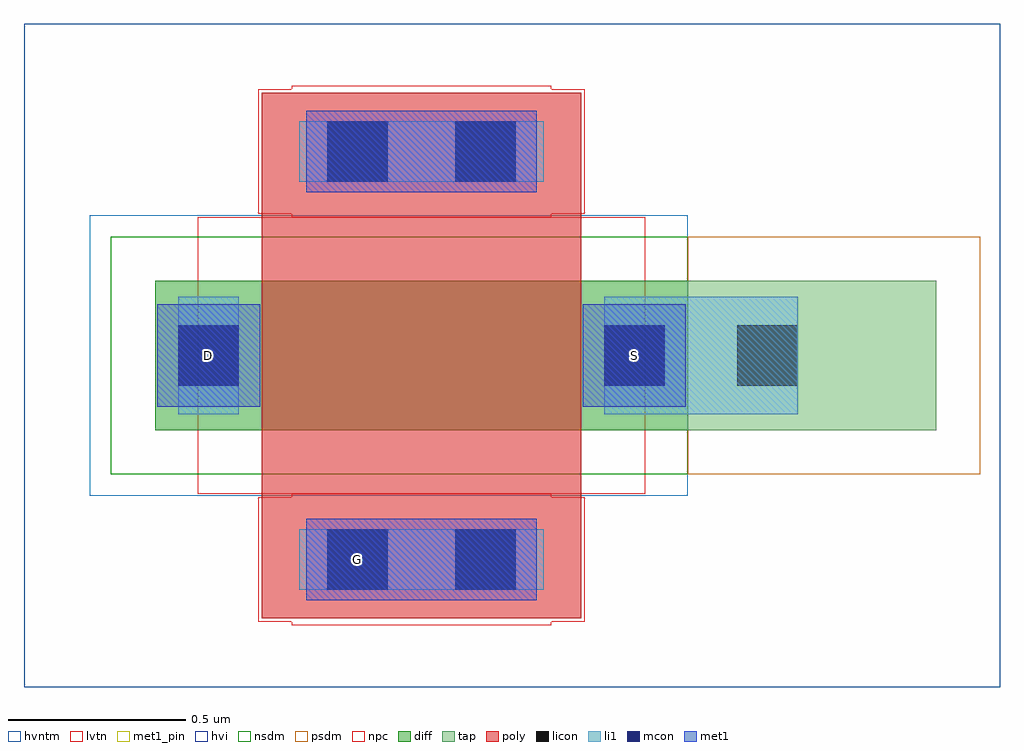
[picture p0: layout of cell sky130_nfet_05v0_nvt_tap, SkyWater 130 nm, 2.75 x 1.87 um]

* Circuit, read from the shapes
.subckt sky130_nfet_05v0_nvt_tap D G S
XM1 S G D S sky130_fd_pr__nfet_05v0_nvt w=0.42 l=0.9
.ends

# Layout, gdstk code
import gdstk
lib = gdstk.Library(unit=1e-6, precision=1e-09)
def R(c, l, rs):  # rectangles x0, y0, x1, y1
    for r in rs: c.add(gdstk.rectangle(r[:2], r[2:], *l))
diff = (65, 20)
tap = (65, 44)
poly = (66, 20)
licon = (66, 44)
li1 = (67, 20)
mcon = (67, 44)
met1_pin = (68, 16)
met1 = (68, 20)
hvi = (75, 20)
nsdm = (93, 44)
psdm = (94, 20)
npc = (95, 20)
hvntm = (125, 20)
lvtn = (125, 44)

nfet = lib.new_cell('nfet')
R(nfet, diff, [(0,0,1.5,0.42)])
R(nfet, tap, [(1.5,0,1.95,0.42)])
R(nfet, poly, [(0.3,-0.53,1.2,-0.2), (0.3,-0.2,1.2,0.62), (0.3,0.62,1.2,0.95)])
R(nfet, licon, [(0.485,-0.45,0.655,-0.28), (0.845,-0.45,1.015,-0.28), (0.065,0.125,0.235,0.295), (1.265,0.125,1.435,0.295), (1.64,0.125,1.81,0.295), (0.485,0.7,0.655,0.87), (0.845,0.7,1.015,0.87)])
R(nfet, li1, [(0.405,-0.45,1.095,-0.28), (0.065,0.045,0.235,0.375), (1.265,0.045,1.435,0.375), (1.64,0.045,1.81,0.375), (0.405,0.7,1.095,0.87)])
R(nfet, mcon, [(0.485,-0.45,0.655,-0.28), (0.845,-0.45,1.015,-0.28), (0.065,0.125,0.235,0.295), (1.265,0.125,1.435,0.295), (0.485,0.7,0.655,0.87), (0.845,0.7,1.015,0.87)])
R(nfet, met1, [(0.425,-0.48,1.075,-0.25), (0.005,0.065,0.295,0.355), (1.205,0.065,1.495,0.355), (0.425,0.67,1.075,0.9)])
R(nfet, hvi, [(-0.37,-0.725,2.26,1.145)])
R(nfet, nsdm, [(-0.125,-0.125,1.5,0.545)])
R(nfet, psdm, [(1.5,-0.125,2.075,0.545)])
R(nfet, npc, [(0.29,-0.54,1.21,-0.19), (0.29,0.61,1.21,0.96)])
R(nfet, hvntm, [(-0.185,-0.185,1.5,0.605)])
R(nfet, lvtn, [(0.12,-0.18,1.38,0.6)])

sky130_nfet_05v0_nvt_tap = lib.new_cell('sky130_nfet_05v0_nvt_tap')
R(sky130_nfet_05v0_nvt_tap, tap, [(1.5,0,2.2,0.42)])
R(sky130_nfet_05v0_nvt_tap, li1, [(1.435,0.045,1.64,0.375)])
R(sky130_nfet_05v0_nvt_tap, met1_pin, [(0.485,-0.45,0.655,-0.28), (0.065,0.125,0.235,0.295), (1.265,0.125,1.435,0.295)])
R(sky130_nfet_05v0_nvt_tap, hvi, [(-0.37,-0.725,2.38,1.145)])
R(sky130_nfet_05v0_nvt_tap, psdm, [(1.5,-0.125,2.325,0.545)])
R(sky130_nfet_05v0_nvt_tap, npc, [(0.385,-0.55,0.755,-0.18), (0.745,-0.55,1.115,-0.18), (0.385,0.6,0.755,0.97), (0.745,0.6,1.115,0.97)])
sky130_nfet_05v0_nvt_tap.add(gdstk.Reference(nfet, (0,0)))
sky130_nfet_05v0_nvt_tap.add(gdstk.Label('D', (0.15,0.21), layer=68, texttype=5))
sky130_nfet_05v0_nvt_tap.add(gdstk.Label('S', (1.35,0.21), layer=68, texttype=5))
sky130_nfet_05v0_nvt_tap.add(gdstk.Label('G', (0.57,-0.365), layer=68, texttype=5))

lib.write_gds('sky130_nfet_05v0_nvt_tap.gds')
